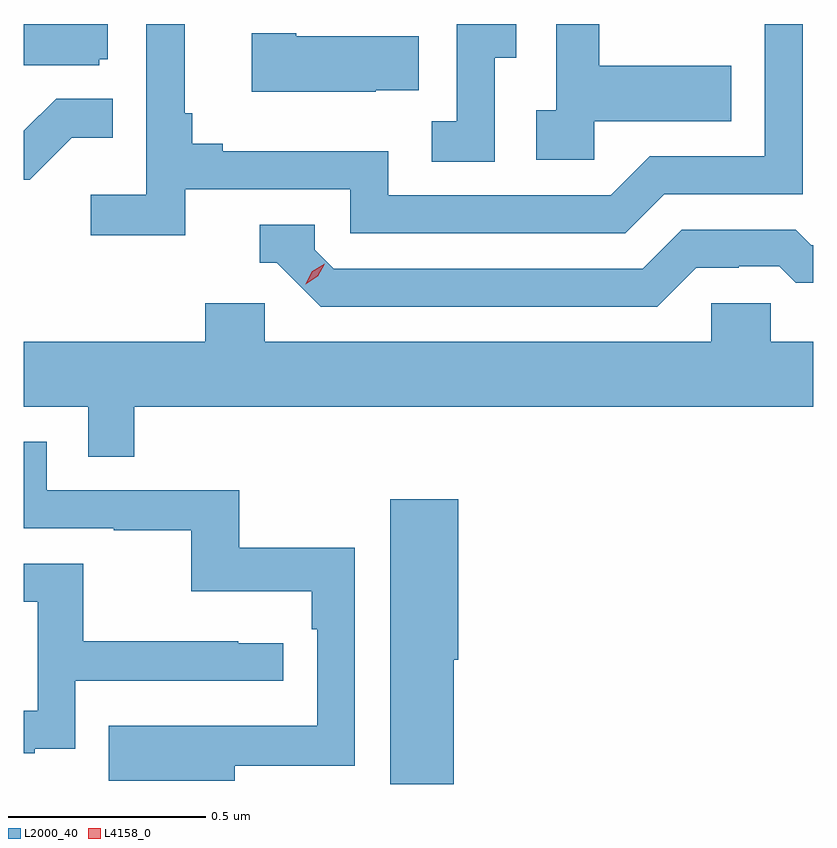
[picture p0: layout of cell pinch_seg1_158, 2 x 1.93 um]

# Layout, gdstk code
import gdstk
lib = gdstk.Library(unit=1e-6, precision=1e-09)
def P(c, l, *ps):  # polygons
    for p in ps: c.add(gdstk.Polygon(p, *l))
L2000_40 = (2000, 40)
L4158_0 = (4158, 0)

pinch_seg1_158 = lib.new_cell('pinch_seg1_158')
P(pinch_seg1_158, L2000_40, [(1131.294,555.28),(1131.349,555.28),(1131.349,555.365),(1131.198,555.365),(1131.198,555.119),(1131.135,555.119),(1131.135,555.016),(1131.294,555.016)],
  [(1131.546,555.119),(1131.893,555.119),(1131.893,555.259),(1131.559,555.259),(1131.559,555.365),(1131.45,555.365),(1131.45,555.146),(1131.399,555.146),(1131.399,555.021),(1131.546,555.021)],
  [(1130.51,554.946),(1130.928,554.946),(1130.928,554.835),(1131.625,554.835),(1131.724,554.934),(1132.074,554.934),(1132.074,555.365),(1131.978,555.365),(1131.978,555.03),(1131.687,555.03),(1131.588,554.931),(1131.024,554.931),(1131.024,555.043),(1130.605,555.043),(1130.605,555.062),(1130.528,555.062),(1130.528,555.139),(1130.509,555.139),(1130.509,555.365),(1130.412,555.365),(1130.412,554.932),(1130.271,554.932),(1130.271,554.83),(1130.51,554.83)],
  [(1130.292,555.276),(1130.314,555.276),(1130.314,555.365),(1130.101,555.365),(1130.101,555.261),(1130.292,555.261)],
  [(1130.993,555.197),(1131.101,555.197),(1131.101,555.334),(1130.791,555.334),(1130.791,555.342),(1130.679,555.342),(1130.679,555.194),(1130.993,555.194)],
  [(1130.223,555.077),(1130.327,555.077),(1130.327,555.176),(1130.183,555.176),(1130.101,555.094),(1130.101,554.97),(1130.116,554.97)],
  [(1131.805,554.748),(1131.912,554.748),(1131.912,554.751),(1132.015,554.751),(1132.057,554.709),(1132.101,554.709),(1132.101,554.805),(1132.096,554.805),(1132.057,554.844),(1131.768,554.844),(1131.669,554.745),(1130.886,554.745),(1130.838,554.793),(1130.838,554.856),(1130.699,554.856),(1130.699,554.76),(1130.742,554.76),(1130.853,554.649),(1131.706,554.649)],
  [(1130.381,554.396),(1132.101,554.396),(1132.101,554.56),(1131.993,554.56),(1131.993,554.658),(1131.843,554.658),(1131.843,554.56),(1130.712,554.56),(1130.712,554.658),(1130.561,554.658),(1130.561,554.56),(1130.101,554.56),(1130.101,554.396),(1130.265,554.396),(1130.265,554.269),(1130.381,554.269)],
  [(1130.635,553.486),(1130.94,553.486),(1130.94,554.038),(1130.647,554.038),(1130.647,554.184),(1130.16,554.184),(1130.16,554.307),(1130.101,554.307),(1130.101,554.088),(1130.329,554.088),(1130.329,554.083),(1130.526,554.083),(1130.526,553.928),(1130.831,553.928),(1130.831,553.832),(1130.844,553.832),(1130.844,553.587),(1130.531,553.587),(1130.531,553.588),(1130.317,553.588),(1130.317,553.448),(1130.635,553.448)],
  [(1131.19,553.755),(1131.202,553.755),(1131.202,554.161),(1131.029,554.161),(1131.029,553.44),(1131.19,553.44)],
  [(1130.129,553.529),(1130.232,553.529),(1130.232,553.701),(1130.758,553.701),(1130.758,553.797),(1130.645,553.797),(1130.645,553.802),(1130.252,553.802),(1130.252,553.998),(1130.101,553.998),(1130.101,553.902),(1130.136,553.902),(1130.136,553.626),(1130.101,553.626),(1130.101,553.518),(1130.129,553.518)])
P(pinch_seg1_158, L4158_0, [(1130.815,554.706),(1130.815,554.707),(1130.832,554.739),(1130.863,554.758),(1130.863,554.758),(1130.863,554.758),(1130.846,554.726),(1130.816,554.706)])

lib.write_gds('pinch_seg1_158.gds')
